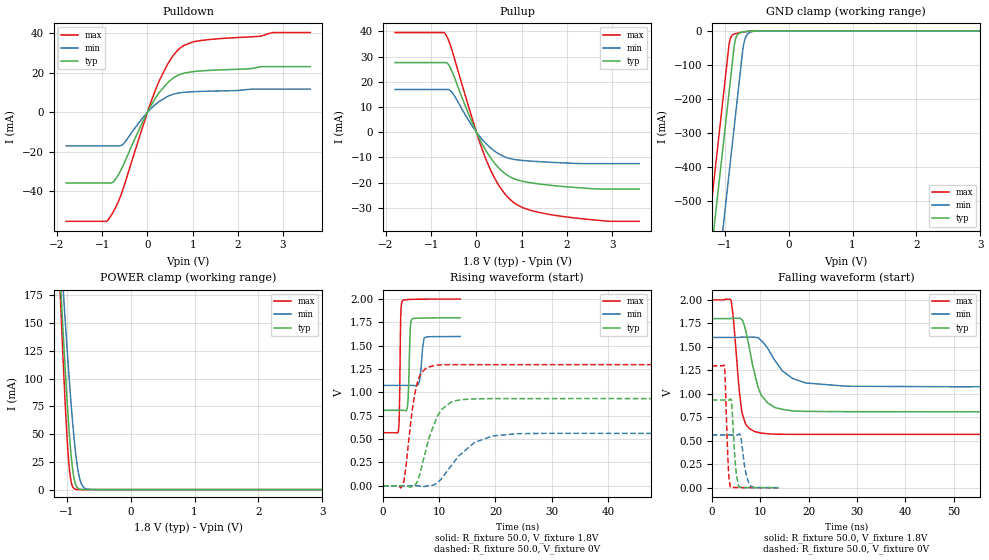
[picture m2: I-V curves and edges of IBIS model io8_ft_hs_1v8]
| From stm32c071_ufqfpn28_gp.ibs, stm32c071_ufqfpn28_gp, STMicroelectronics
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[Model]   io8_ft_hs_1v8
Model_type I/O
Polarity   Non-Inverting
Enable   Active-Low
| CAP_THRESHOLD on pad IOFT is "UDTCAPC" :
| Rising=30.0% of vddiom   Falling=70.0% of vddiom
| C_comp min and max val. don't necessarily correlate with the min and max pvt
| but are the smallest and greatest pad capacitance found.
| var   typ   min   max
C_comp   1.88005pF  1.84964pF  1.93329pF
|C_comp_pullup   1.00281pF  1.07925pF  1.05575pF
|C_comp_pulldown   877.23973fF  770.39365fF  877.53544fF
Vinl = 800.0mV
Vinh = 1.0V
Vmeas = 900.0mV   | Reference voltage for timing measurements
Cref  = 50.0pF   | Timing specification test load capacitance value
Rref  = 1.0MOhm   | Timing specification test load resistance value
Vref  = 990.0mV   | Timing specification test load voltage
[Model Spec]
| TIME_THRESHOLD on pin ZIV12 is "CMOS" :
| Rising=50.0% of vdd   Falling=50.0% of vdd
Vinl 728.70000mV 652.70000mV 817.70000mV
Vinh 1.06430V 953.30000mV 1.16330V
| variable   typ   min   max
[Temperature Range] 25.0 125.0 -40.0
| variable   typ   min   max
[Voltage Range] 1.8V 1.6V 2.0V
| variable   typ   min   max
[POWER Clamp Reference] 1.8V 1.6V 2.0V
| variable   typ   min   max
[GND Clamp Reference] 0V 0V 0V
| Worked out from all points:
|   slope of the pulldown table from 0 to 0.27 V, typ, clamps not added: 26.3 ohm
|   slope of the pullup table from 0 to 0.27 V, typ, clamps not added: 30 ohm
|   GND clamp passes 1 mA (typ) near -0.61 V on its own axis
|   POWER clamp passes 1 mA (typ) near -0.81 V on its own axis
|   rising waveform, R_fixture 50.0, V_fixture 1.8V: 20-80 % time 279ps typ, 470ps min, 194ps max; typ from 0.809 V to 1.8 V
|   falling waveform, R_fixture 50.0, V_fixture 1.8V: 20-80 % time 2.75ns typ, 4.85ns min, 1.49ns max; typ from 1.8 V to 0.808 V
|   rising waveform, R_fixture 50.0, V_fixture 0V: 20-80 % time 2.87ns typ, 5.12ns min, 1.67ns max; typ from 0 V to 0.935 V
|   falling waveform, R_fixture 50.0, V_fixture 0V: 20-80 % time 695ps typ, 998ps min, 532ps max; typ from 0.935 V to 0 V
[POWER Clamp]
-1.8V     1.053A     933.5mA    1.262A
-1.1V     191.1mA    222.7mA    177.1mA
-1.08V    169mA      204.2mA    149.9mA
-1.05V    136.9mA    176.9mA    110.9mA
-1.01V    96.55mA    141.6mA    64.02mA
-980mV    68.91mA    116.4mA    35.23mA
-940mV    37.57mA    84.83mA    10.65mA
-880mV    8.969mA    44.34mA    807.4uA
-830mV    1.697mA    20.19mA    75.79uA
-790mV    394.2uA    8.787mA    11.25uA
-670mV    4.467uA    374.2uA    36.56nA
3.6V      0A         0A         0A
[GND Clamp]
-1.8V     -1.658A    -1.897A    -1.517A
-1.24V    -706mA     -945.3mA   -564.6mA
-1.05V    -383mA     -622.3mA   -241.6mA
-930mV    -179mA     -418.3mA   -38.91mA
-910mV    -145mA     -384.3mA   -22.02mA
-870mV    -77.01mA   -316.3mA   -11.35mA
-850mV    -44.09mA   -282.3mA   -9.519mA
-820mV    -19mA      -231.3mA   -7.801mA
-710mV    -3.257mA   -47.82mA   -3.606mA
-660mV    -1.938mA   -14.77mA   -2.175mA
-590mV    -790.4uA   -3.415mA   -786.7uA
3.6V      506.8pA    48.18nA    364.4pA
| variable   typ   min   max
[Pullup Reference] 1.8V 1.6V 2.0V
| variable   typ   min   max
[Pulldown Reference] 0V 0V 0V
[Pullup]
-1.8V     27.62mA    16.93mA    39.53mA
-680mV    27.62mA    16.93mA    38.81mA
-610mV    26.58mA    16.85mA    36.12mA
-520mV    23.23mA    15.32mA    31.29mA
-120mV    4.869mA    3.102mA    6.98mA
210mV     -7.259mA   -4.466mA   -10.7mA
490mV     -14.1mA    -8.547mA   -20.93mA
810mV     -18.3mA    -10.74mA   -27.71mA
1.18V     -19.99mA   -11.43mA   -30.89mA
1.74V     -21.24mA   -12.01mA   -32.98mA
2.94V     -22.49mA   -12.46mA   -35.33mA
3.6V      -22.49mA   -12.46mA   -35.33mA
[Pulldown]
-1.8V     -35.76mA   -16.97mA   -55.17mA
-910mV    -35.76mA   -16.97mA   -55.17mA
-830mV    -35.76mA   -16.97mA   -53.18mA
-720mV    -34.31mA   -16.97mA   -48.86mA
-540mV    -27.04mA   -16.13mA   -38.89mA
-120mV    -5.569mA   -3.236mA   -8.457mA
230mV     8.974mA    4.965mA    14.24mA
520mV     16.45mA    8.737mA    27.07mA
750mV     19.43mA    9.977mA    33.01mA
1.37V     21.21mA    10.7mA     36.84mA
2.78V     23.13mA    11.74mA    40.36mA
3.6V      23.13mA    11.74mA    40.37mA
[Ramp]
dV/dt_r 560.89985mV/2.86279ns 336.98313mV/5.12476ns 778.78903mV/1.66572ns
dV/dt_f 595.43534mV/2.75242ns 315.21172mV/4.85259ns 858.98632mV/1.4927ns
R_load = 50.0
| Removed startup time: 0s 0s 0s  .
| Removed end time: 13.75ns.
[Rising Waveform]
R_fixture   = 50.0
V_fixture   = 1.8V
V_fixture_min = 1.6V
V_fixture_max = 2.0V
0s        808.6mV    1.076V     568.1mV
2.8ns     808.6mV    1.076V     602.5mV
2.95ns    808.6mV    1.076V     851.1mV
3.2ns     808.6mV    1.076V     1.865V
3.45ns    808.6mV    1.076V     1.979V
4.35ns    835.9mV    1.076V     1.995V
5.1ns     1.779V     1.076V     1.998V
6.5ns     1.796V     1.119V     1.999V
7.35ns    1.798V     1.587V     2V
13.75ns   1.8V       1.599V     2V
| Removed startup time: 0s 0s 0s  .
| Removed end time: 249.75ns.
[Falling Waveform]
R_fixture   = 50.0
V_fixture   = 1.8V
V_fixture_min = 1.6V
V_fixture_max = 2.0V
0s        1.8V       1.6V       2V
4ns       1.802V     1.6V       1.987V
4.575ns   1.805V     1.6V       1.724V
5.75ns    1.804V     1.6V       988.4mV
6.225ns   1.787V     1.604V     798.6mV
7.325ns   1.594V     1.603V     652.5mV
10.13ns   996.5mV    1.57V      581.5mV
16.68ns   817.3mV    1.163V     568.2mV
27.75ns   809.5mV    1.08V      568.1mV
249.8ns   807.6mV    1.075V     568.4mV
| Removed startup time: 0s 0s 0s  .
| Removed end time: 249.75ns.
[Rising Waveform]
R_fixture   = 50.0
V_fixture   = 0V
V_fixture_min = 0V
V_fixture_max = 0V
0s        36.63nV    88.67nV    43.76nV
3.55ns    11.68uV    477.5nV    7.183mV
4.1ns     -236.7uV   -528.9nV   202.6mV
5.25ns    -5.835mV   24.53uV    818.9mV
6.15ns    50.5mV     -681.3uV   1.108V
9.35ns    695.6mV    20.44mV    1.292V
12ns      891.9mV    203.5mV    1.298V
16.3ns    931mV      464.7mV    1.298V
23.85ns   934.3mV    558mV      1.298V
249.8ns   934.8mV    561.6mV    1.298V
| Removed startup time: 0s 0s 0s  .
| Removed end time: 13.75ns.
[Falling Waveform]
R_fixture   = 50.0
V_fixture   = 0V
V_fixture_min = 0V
V_fixture_max = 0V
0s        934.6mV    561.6mV    1.298V
2.6ns     934.6mV    561.6mV    1.294V
3.35ns    934.5mV    561.6mV    269mV
3.85ns    944mV      561.6mV    2.457mV
4.15ns    865.9mV    561.6mV    7.012mV
5.05ns    144.2mV    561.3mV    1.783mV
5.6ns     7.191mV    569.2mV    1.247mV
6ns       4.557mV    539.6mV    842.3uV
7.85ns    1.073mV    22.58mV    548uV
13.75ns   190.2uV    72.99uV    -251.5uV
